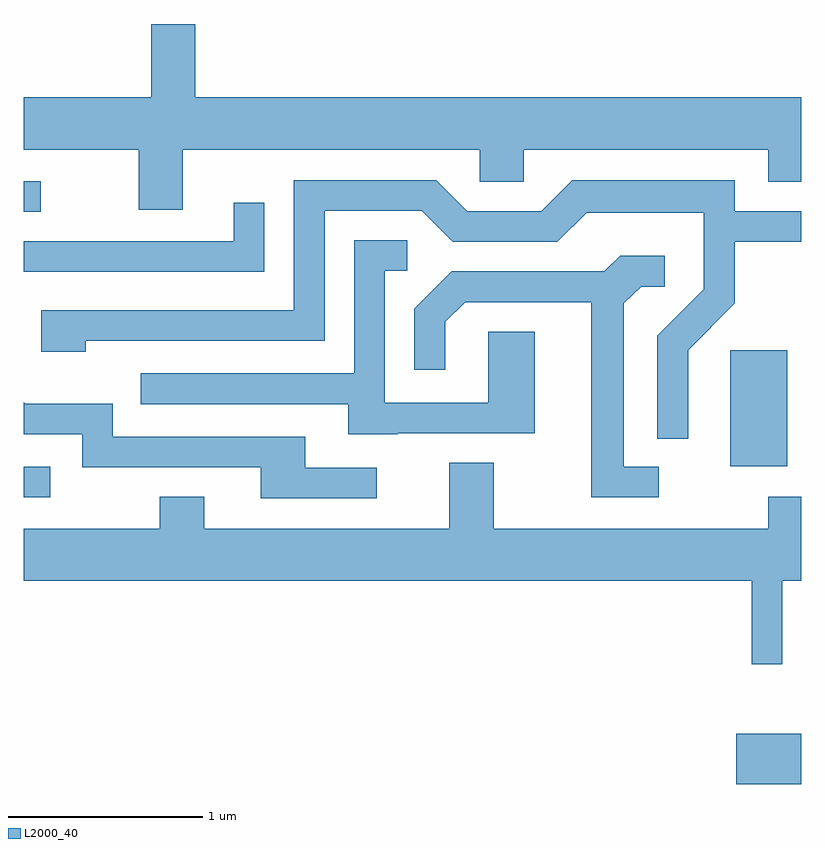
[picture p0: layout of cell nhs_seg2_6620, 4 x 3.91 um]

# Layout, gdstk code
import gdstk
lib = gdstk.Library(unit=1e-6, precision=1e-09)
def R(c, l, rs):  # rectangles x0, y0, x1, y1
    for r in rs: c.add(gdstk.rectangle(r[:2], r[2:], *l))
def P(c, l, *ps):  # polygons
    for p in ps: c.add(gdstk.Polygon(p, *l))
L2000_40 = (2000, 40)

nhs_seg2_6620 = lib.new_cell('nhs_seg2_6620')
R(nhs_seg2_6620, L2000_40, [(383.276,1093.891,383.611,1094.149), (379.611,1095.366,379.748,1095.524), (383.246,1095.526,383.539,1096.124), (379.611,1096.836,379.698,1096.994)])
P(nhs_seg2_6620, L2000_40, [(380.429,1097.156),(381.956,1097.156),(381.956,1096.991),(382.184,1096.991),(382.184,1097.156),(383.441,1097.156),(383.441,1096.991),(383.611,1096.991),(383.611,1097.424),(380.494,1097.424),(380.494,1097.802),(380.266,1097.802),(380.266,1097.424),(379.611,1097.424),(379.611,1097.156),(380.201,1097.156),(380.201,1096.846),(380.429,1096.846)],
  [(383.029,1096.124),(383.269,1096.364),(383.269,1096.681),(383.611,1096.681),(383.611,1096.839),(383.269,1096.839),(383.269,1096.999),(382.434,1096.999),(382.274,1096.839),(381.892,1096.839),(381.732,1096.999),(381.001,1096.999),(381.001,1096.329),(379.701,1096.329),(379.701,1096.116),(379.929,1096.116),(379.929,1096.171),(381.159,1096.171),(381.159,1096.841),(381.659,1096.841),(381.819,1096.681),(382.357,1096.681),(382.507,1096.831),(383.111,1096.831),(383.111,1096.437),(382.871,1096.197),(382.871,1095.668),(383.029,1095.668)],
  [(380.849,1096.883),(380.691,1096.883),(380.691,1096.684),(379.611,1096.684),(379.611,1096.526),(380.849,1096.526)],
  [(381.535,1095.696),(382.239,1095.696),(382.239,1096.219),(382.001,1096.219),(382.001,1095.854),(381.469,1095.854),(381.469,1096.531),(381.583,1096.531),(381.583,1096.689),(381.311,1096.689),(381.311,1096.004),(380.213,1096.004),(380.213,1095.846),(381.281,1095.846),(381.281,1095.691),(381.535,1095.691)],
  [(382.878,1095.524),(382.699,1095.524),(382.699,1096.364),(382.787,1096.451),(382.908,1096.451),(382.908,1096.609),(382.679,1096.609),(382.599,1096.529),(381.814,1096.529),(381.621,1096.337),(381.621,1096.023),(381.779,1096.023),(381.779,1096.269),(381.882,1096.371),(382.531,1096.371),(382.531,1095.366),(382.878,1095.366)],
  [(381.428,1095.519),(381.059,1095.519),(381.059,1095.679),(380.069,1095.679),(380.069,1095.849),(379.617,1095.849),(379.611,1095.855),(379.611,1095.691),(379.911,1095.691),(379.911,1095.521),(380.831,1095.521),(380.831,1095.361),(381.428,1095.361)],
  [(383.514,1094.936),(383.611,1094.936),(383.611,1095.369),(383.441,1095.369),(383.441,1095.204),(382.029,1095.204),(382.029,1095.544),(381.801,1095.544),(381.801,1095.204),(380.539,1095.204),(380.539,1095.369),(380.311,1095.369),(380.311,1095.204),(379.611,1095.204),(379.611,1094.936),(383.356,1094.936),(383.356,1094.508),(383.514,1094.508)])

lib.write_gds('nhs_seg2_6620.gds')
